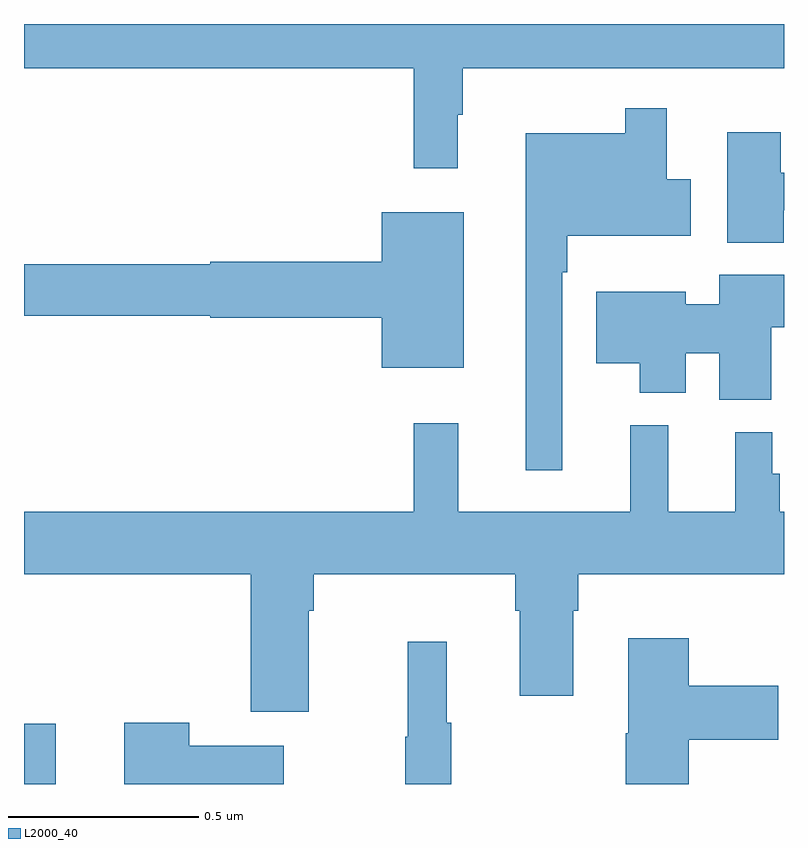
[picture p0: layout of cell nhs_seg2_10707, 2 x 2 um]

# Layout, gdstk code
import gdstk
lib = gdstk.Library(unit=1e-6, precision=1e-09)
def R(c, l, rs):  # rectangles x0, y0, x1, y1
    for r in rs: c.add(gdstk.rectangle(r[:2], r[2:], *l))
def P(c, l, *ps):  # polygons
    for p in ps: c.add(gdstk.Polygon(p, *l))
L2000_40 = (2000, 40)

nhs_seg2_10707 = lib.new_cell('nhs_seg2_10707')
R(nhs_seg2_10707, L2000_40, [(245,597.8,245.084,597.958)])
P(nhs_seg2_10707, L2000_40, [(246.142,599.561),(246.154,599.561),(246.154,599.684),(247,599.684),(247,599.8),(245,599.8),(245,599.684),(246.025,599.684),(246.025,599.421),(246.142,599.421)],
  [(246.417,599.147),(246.43,599.147),(246.43,599.243),(246.754,599.243),(246.754,599.391),(246.691,599.391),(246.691,599.578),(246.582,599.578),(246.582,599.512),(246.32,599.512),(246.32,598.626),(246.417,598.626)],
  [(246.999,599.31),(247,599.31),(247,599.409),(246.991,599.409),(246.991,599.515),(246.851,599.515),(246.851,599.225),(246.999,599.225)],
  [(246.157,599.305),(245.942,599.305),(245.942,599.174),(245.49,599.174),(245.49,599.168),(245,599.168),(245,599.032),(245.49,599.032),(245.49,599.027),(245.942,599.027),(245.942,598.895),(246.157,598.895)],
  [(246.967,599.002),(247,599.002),(247,599.14),(246.83,599.14),(246.83,599.062),(246.742,599.062),(246.742,599.095),(246.506,599.095),(246.506,598.907),(246.62,598.907),(246.62,598.829),(246.742,598.829),(246.742,598.933),(246.83,598.933),(246.83,598.811),(246.967,598.811)],
  [(245.749,598.256),(245.762,598.256),(245.762,598.352),(246.293,598.352),(246.293,598.256),(246.305,598.256),(246.305,598.032),(246.445,598.032),(246.445,598.256),(246.458,598.256),(246.458,598.352),(247,598.352),(247,598.516),(246.989,598.516),(246.989,598.617),(246.969,598.617),(246.969,598.726),(246.872,598.726),(246.872,598.516),(246.695,598.516),(246.695,598.744),(246.596,598.744),(246.596,598.516),(246.143,598.516),(246.143,598.75),(246.025,598.75),(246.025,598.516),(245,598.516),(245,598.352),(245.597,598.352),(245.597,597.99),(245.749,597.99)],
  [(246.749,597.917),(246.985,597.917),(246.985,598.059),(246.749,598.059),(246.749,598.183),(246.59,598.183),(246.59,597.933),(246.583,597.933),(246.583,597.8),(246.749,597.8)],
  [(246.124,597.961),(246.113,597.961),(246.113,598.174),(246.01,598.174),(246.01,597.924),(246.003,597.924),(246.003,597.8),(246.124,597.8)],
  [(245.683,597.901),(245.435,597.901),(245.435,597.961),(245.264,597.961),(245.264,597.8),(245.683,597.8)])

lib.write_gds('nhs_seg2_10707.gds')
